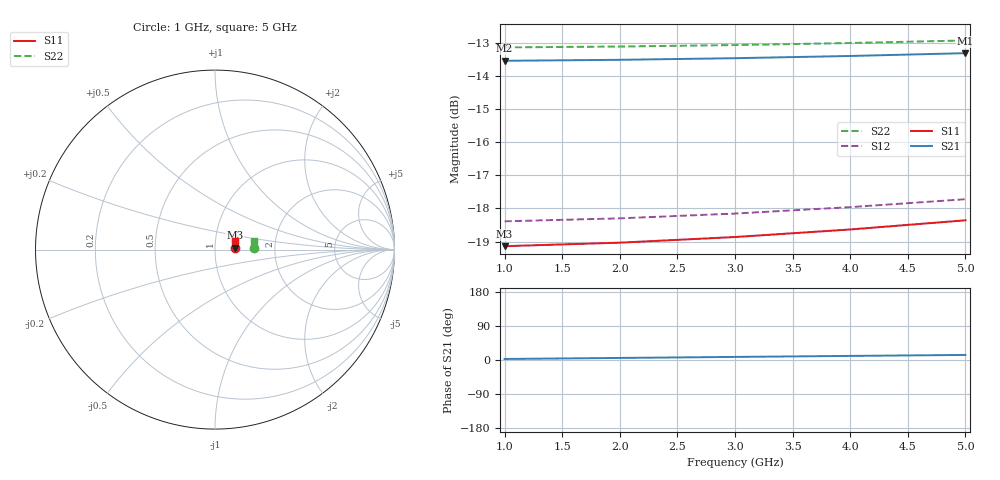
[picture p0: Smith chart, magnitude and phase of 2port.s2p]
! Interconnect Studio fixture, 2-port: S[r][c] = (10r + c)/100 + j(k+1)/100, k = point index
! Touchstone 1.x order: S11 S21 S12 S22 (2-port column-major)
# GHz S RI R 50
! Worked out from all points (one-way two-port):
!   5 points, 1 GHz to 5 GHz, reference 50 ohm
!   highest |S21| = -13.32 dB at 5 GHz (marker M1); lowest = -13.5 dB at 1 GHz (marker M2)
!   lowest |S11| = -19.1 dB at 1 GHz (marker M3), VSWR 1.25, Z = 62.3 + j1.26 ohm
!   |S11| at or under -10 dB: start of sweep to end of sweep
!   |S22| runs from -13.1 to -12.9 dB; largest |S21 - S12| = 0.09
1  0.11 0.01  0.21 0.01  0.12 0.01  0.22 0.01
2  0.11 0.02  0.21 0.02  0.12 0.02  0.22 0.02
3  0.11 0.03  0.21 0.03  0.12 0.03  0.22 0.03
4  0.11 0.04  0.21 0.04  0.12 0.04  0.22 0.04
5  0.11 0.05  0.21 0.05  0.12 0.05  0.22 0.05
